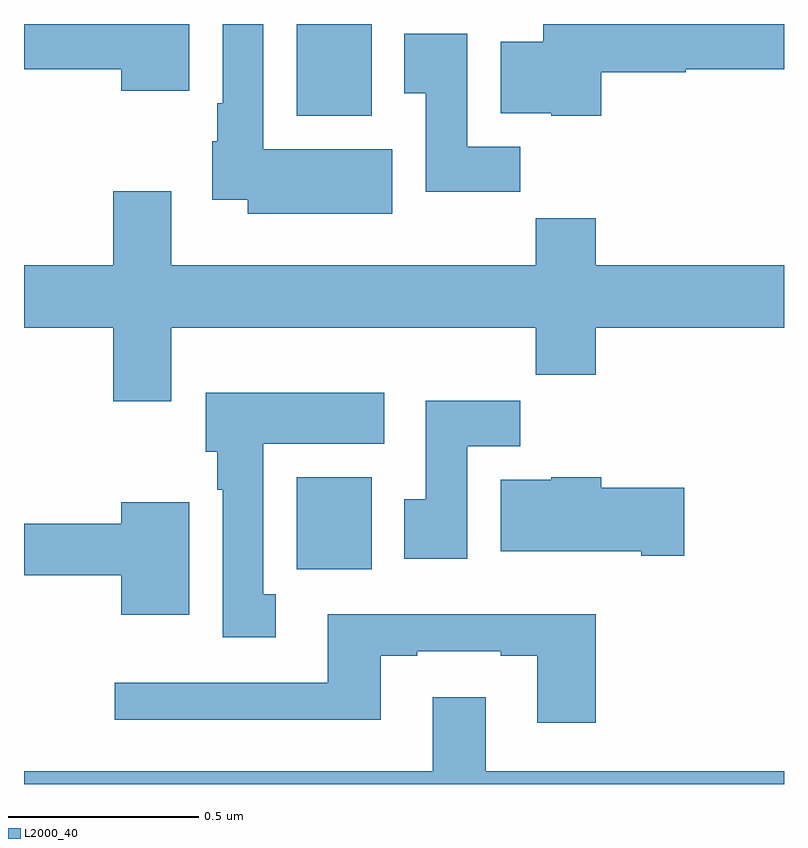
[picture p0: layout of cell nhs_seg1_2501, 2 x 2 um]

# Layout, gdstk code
import gdstk
lib = gdstk.Library(unit=1e-6, precision=1e-09)
def R(c, l, rs):  # rectangles x0, y0, x1, y1
    for r in rs: c.add(gdstk.rectangle(r[:2], r[2:], *l))
def P(c, l, *ps):  # polygons
    for p in ps: c.add(gdstk.Polygon(p, *l))
L2000_40 = (2000, 40)

nhs_seg1_2501 = lib.new_cell('nhs_seg1_2501')
R(nhs_seg1_2501, L2000_40, [(142.718,549.764,142.915,550.006), (142.718,550.958,142.915,551.199)])
P(nhs_seg1_2501, L2000_40, [(143.519,551.072),(143.742,551.072),(143.742,551.08),(144,551.08),(144,551.199),(143.366,551.199),(143.366,551.152),(143.255,551.152),(143.255,550.964),(143.388,550.964),(143.388,550.958),(143.519,550.958)],
  [(142.435,551.199),(142,551.199),(142,551.08),(142.256,551.08),(142.256,551.024),(142.435,551.024)],
  [(142.969,550.87),(142.63,550.87),(142.63,551.199),(142.523,551.199),(142.523,550.99),(142.508,550.99),(142.508,550.89),(142.496,550.89),(142.496,550.736),(142.589,550.736),(142.589,550.7),(142.969,550.7)],
  [(143.306,550.876),(143.167,550.876),(143.167,551.173),(143,551.173),(143,551.017),(143.057,551.017),(143.057,550.758),(143.306,550.758)],
  [(142.387,550.4),(143.347,550.4),(143.347,550.276),(143.504,550.276),(143.504,550.4),(144,550.4),(144,550.564),(143.504,550.564),(143.504,550.688),(143.347,550.688),(143.347,550.564),(142.387,550.564),(142.387,550.759),(142.235,550.759),(142.235,550.564),(142,550.564),(142,550.4),(142.235,550.4),(142.235,550.206),(142.387,550.206)],
  [(142.663,549.698),(142.63,549.698),(142.63,550.094),(142.948,550.094),(142.948,550.228),(142.478,550.228),(142.478,550.074),(142.508,550.074),(142.508,549.974),(142.523,549.974),(142.523,549.585),(142.663,549.585)],
  [(143.167,550.088),(143.306,550.088),(143.306,550.207),(143.057,550.207),(143.057,549.948),(143,549.948),(143,549.792),(143.167,549.792)],
  [(143.737,549.978),(143.519,549.978),(143.519,550.006),(143.388,550.006),(143.388,550),(143.255,550),(143.255,549.812),(143.624,549.812),(143.624,549.8),(143.737,549.8)],
  [(142.435,549.94),(142.256,549.94),(142.256,549.884),(142,549.884),(142,549.748),(142.256,549.748),(142.256,549.644),(142.435,549.644)],
  [(143.504,549.646),(142.799,549.646),(142.799,549.465),(142.239,549.465),(142.239,549.368),(142.939,549.368),(142.939,549.537),(143.035,549.537),(143.035,549.549),(143.255,549.549),(143.255,549.537),(143.351,549.537),(143.351,549.36),(143.504,549.36)],
  [(144,549.232),(143.215,549.232),(143.215,549.427),(143.075,549.427),(143.075,549.232),(142,549.232),(142,549.199),(144,549.199)])

lib.write_gds('nhs_seg1_2501.gds')
